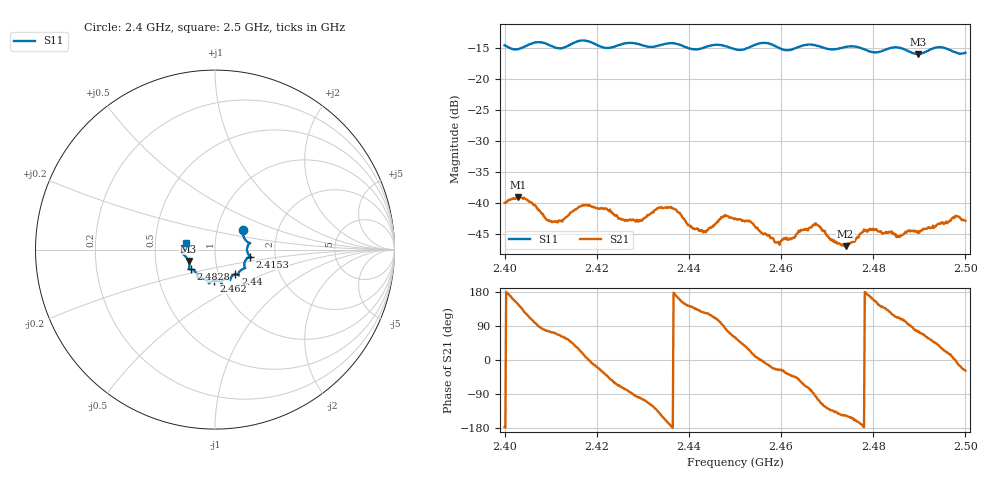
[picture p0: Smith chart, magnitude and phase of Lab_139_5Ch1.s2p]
# Hz S RI R 50
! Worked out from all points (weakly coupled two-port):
!   601 points, 2.4 GHz to 2.5 GHz, reference 50 ohm
!   highest |S21| = -39.08 dB at 2.403 GHz (marker M1); lowest = -47.0 dB at 2.474 GHz (marker M2)
!   lowest |S11| = -15.9 dB at 2.4897 GHz (marker M3), VSWR 1.38, Z = 36.9 - j4.82 ohm
!   |S11| at or under -10 dB: start of sweep to end of sweep
!   S12 and S22 are empty: the file has one direction only
!   S11 on the Smith chart (normalised r, x): 2.4 GHz: 1.33, +0.29; 2.4153 GHz: 1.48, -0.12; 2.44 GHz: 1.21, -0.34; 2.462 GHz: 0.93, -0.33; 2.4828 GHz: 0.74, -0.17; 2.5 GHz: 0.72, +0.06
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2.4e9  0.1555 0.1067  -0.00997 -0.000549  0 0  0 0
2.403e9  0.1654 0.0593  -0.00918 0.00626  0 0  0 0
2.41e9  0.1854 0.0259  0.00204 0.00684  0 0  0 0
2.415333e9  0.1961 -0.0388  0.00712 0.00529  0 0  0 0
2.416667e9  0.2017 -0.0428  0.00884 0.00338  0 0  0 0
2.428833e9  0.1629 -0.1052  -0.000959 -0.00713  0 0  0 0
2.433333e9  0.1309 -0.1336  -0.00658 -0.00624  0 0  0 0
2.436667e9  0.1326 -0.144  -0.00893 0.000366  0 0  0 0
2.44e9  0.1141 -0.1365  -0.0052 0.00403  0 0  0 0
2.4435e9  0.0869 -0.1595  -0.0033 0.00487  0 0  0 0
2.4475e9  0.0832 -0.1679  -4.08e-05 0.00765  0 0  0 0
2.45e9  0.065 -0.1627  0.00372 0.0065  0 0  0 0
2.459167e9  0.0292 -0.18  0.00433 -0.00201  0 0  0 0
2.462e9  -0.00537 -0.1729  0.00395 -0.00331  0 0  0 0
2.466667e9  -0.0344 -0.1878  0.000841 -0.0063  0 0  0 0
2.474e9  -0.0876 -0.1605  -0.00371 -0.00247  0 0  0 0
2.478e9  -0.0989 -0.1449  -0.0061 -0.000275  0 0  0 0
2.482833e9  -0.1364 -0.1091  -0.00399 0.00424  0 0  0 0
2.483333e9  -0.1401 -0.1089  -0.00369 0.00452  0 0  0 0
2.489667e9  -0.147 -0.0637  0.00133 0.00556  0 0  0 0
2.494167e9  -0.1805 -0.0223  0.00528 0.00428  0 0  0 0
2.5e9  -0.1595 0.0391  0.00631 -0.00337  0 0  0 0
